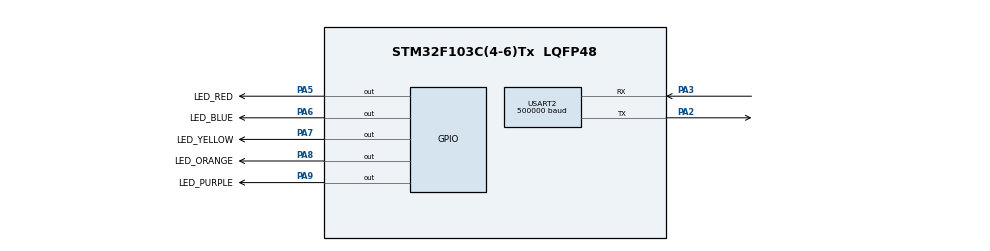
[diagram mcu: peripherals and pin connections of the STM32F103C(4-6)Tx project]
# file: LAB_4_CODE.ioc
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Mcu.Family=STM32F1
Mcu.Name=STM32F103C(4-6)Tx
Mcu.Package=LQFP48
NVIC.PriorityGroup=NVIC_PRIORITYGROUP_4
NVIC.TIM2_IRQn=true\:0\:0\:false\:false\:true\:true\:true\:true
PA2.Mode=Asynchronous
PA2.Signal=USART2_TX
PA3.Mode=Asynchronous
PA3.Signal=USART2_RX
PA5.GPIO_Label=LED_RED
PA5.GPIO_Speed=GPIO_SPEED_FREQ_HIGH
PA5.PinState=GPIO_PIN_SET
PA5.Signal=GPIO_Output
PA6.GPIO_Label=LED_BLUE
PA6.GPIO_Speed=GPIO_SPEED_FREQ_HIGH
PA6.PinState=GPIO_PIN_SET
PA6.Signal=GPIO_Output
PA7.GPIO_Label=LED_YELLOW
PA7.GPIO_Speed=GPIO_SPEED_FREQ_HIGH
PA7.PinState=GPIO_PIN_SET
PA7.Signal=GPIO_Output
PA8.GPIO_Label=LED_ORANGE
PA8.GPIO_Speed=GPIO_SPEED_FREQ_HIGH
PA8.PinState=GPIO_PIN_SET
PA8.Signal=GPIO_Output
PA9.GPIO_Label=LED_PURPLE
PA9.GPIO_Speed=GPIO_SPEED_FREQ_HIGH
PA9.PinState=GPIO_PIN_SET
PA9.Signal=GPIO_Output
ProjectManager.HeapSize=0x200
ProjectManager.StackSize=0x400
ProjectManager.TargetToolchain=CMake
RCC.APB1Freq_Value=8000000
RCC.APB2Freq_Value=8000000
TIM2.Period=100-1
TIM2.Prescaler=800-1
USART2.BaudRate=500000
USART2.VirtualMode=VM_ASYNC
VP_SYS_VS_ND.Mode=No_Debug
VP_TIM2_VS_ClockSourceINT.Mode=Internal
board=custom

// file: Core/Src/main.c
/* USER CODE BEGIN Header */
/**
 ******************************************************************************
 * @file           : main.c
 * @brief          : Main program body
 ******************************************************************************
 * @attention
 *
 * Copyright (c) 2026 STMicroelectronics.
 * All rights reserved.
 *
 * This software is licensed under terms that can be found in the LICENSE file
 * in the root directory of this software component.
 * If no LICENSE file comes with this software, it is provided AS-IS.
 *
 ******************************************************************************
 */
/* USER CODE END Header */
#include "main.h"
#include "tim.h"
#include "usart.h"
#include "gpio.h"

/* USER CODE BEGIN Includes */
#include "scheduler.h"
#include "stdio.h"
/* USER CODE END Includes */

void SystemClock_Config(void);

/* USER CODE BEGIN 0 */
void HAL_TIM_PeriodElapsedCallback(TIM_HandleTypeDef *htim)
{
  if (htim->Instance == TIM2)
  {
    SCH_Update();
  }
}

int _write(int file, char *ptr, int len)
{
  HAL_UART_Transmit(&huart2, (uint8_t *)ptr, len, HAL_MAX_DELAY);
  return len;
}

void task_LED_1(void)
{
  printf("[Time: %lu ms] Toggle LED_RED\r\n", get_time());
  HAL_GPIO_TogglePin(LED_RED_GPIO_Port, LED_RED_Pin);
}
void task_LED_2(void)
{
  printf("[Time: %lu ms] Toggle LED_BLUE\r\n", get_time());
  HAL_GPIO_TogglePin(LED_BLUE_GPIO_Port, LED_BLUE_Pin);
}
void task_LED_3(void)
{
  printf("[Time: %lu ms] Toggle LED_YELLOW\r\n", get_time());
  HAL_GPIO_TogglePin(LED_YELLOW_GPIO_Port, LED_YELLOW_Pin);
}
void task_LED_4(void)
{
  printf("[Time: %lu ms] Toggle LED_ORANGE\r\n", get_time());
  HAL_GPIO_TogglePin(LED_ORANGE_GPIO_Port, LED_ORANGE_Pin);
}
void task_LED_5(void)
{
  printf("[Time: %lu ms] Toggle LED_PURPLE\r\n", get_time());
  HAL_GPIO_TogglePin(LED_PURPLE_GPIO_Port, LED_PURPLE_Pin);
}

void task_light_all(void)
{
  printf("[Time: %lu ms] Toggle ALL\r\n", get_time());
  HAL_GPIO_TogglePin(LED_RED_GPIO_Port, LED_RED_Pin);
  HAL_GPIO_TogglePin(LED_BLUE_GPIO_Port, LED_BLUE_Pin);
  HAL_GPIO_TogglePin(LED_YELLOW_GPIO_Port, LED_YELLOW_Pin);
  HAL_GPIO_TogglePin(LED_ORANGE_GPIO_Port, LED_ORANGE_Pin);
  HAL_GPIO_TogglePin(LED_PURPLE_GPIO_Port, LED_PURPLE_Pin);
}
/* USER CODE END 0 */

int main(void)
{

  /* MCU Configuration--------------------------------------------------------*/

  /* Reset of all peripherals, Initializes the Flash interface and the Systick. */
  HAL_Init();

  /* Configure the system clock */
  SystemClock_Config();

  /* Initialize all configured peripherals */
  MX_GPIO_Init();
  MX_TIM2_Init();
  MX_USART2_UART_Init();
  /* USER CODE BEGIN 2 */
  SCH_Init();

  SCH_Add_Task(task_light_all, 7500, 0); // oneshot task
  SCH_Add_Task(task_LED_1, 500, 500);
  SCH_Add_Task(task_LED_2, 1000, 1000);
  SCH_Add_Task(task_LED_3, 1500, 1500);
  SCH_Add_Task(task_LED_4, 2000, 2000);
  SCH_Add_Task(task_LED_5, 2500, 2500);
  /* USER CODE END 2 */

  /* Infinite loop */
  /* USER CODE BEGIN WHILE */
  HAL_TIM_Base_Start_IT(&htim2);
  while (1)
  {
    SCH_Dispatch_Tasks();
    __WFI(); // Sleep until the next 10 ms tick!
    /* USER CODE END WHILE */

  }
}

void SystemClock_Config(void)
{
  RCC_OscInitTypeDef RCC_OscInitStruct = {0};
  RCC_ClkInitTypeDef RCC_ClkInitStruct = {0};

  /** Initializes the RCC Oscillators according to the specified parameters
  * in the RCC_OscInitTypeDef structure.
  */
  RCC_OscInitStruct.OscillatorType = RCC_OSCILLATORTYPE_HSI;
  RCC_OscInitStruct.HSIState = RCC_HSI_ON;
  RCC_OscInitStruct.HSICalibrationValue = RCC_HSICALIBRATION_DEFAULT;
  RCC_OscInitStruct.PLL.PLLState = RCC_PLL_NONE;
  if (HAL_RCC_OscConfig(&RCC_OscInitStruct) != HAL_OK)
  {
    Error_Handler();
  }

  /** Initializes the CPU, AHB and APB buses clocks
  */
  RCC_ClkInitStruct.ClockType = RCC_CLOCKTYPE_HCLK|RCC_CLOCKTYPE_SYSCLK
                              |RCC_CLOCKTYPE_PCLK1|RCC_CLOCKTYPE_PCLK2;
  RCC_ClkInitStruct.SYSCLKSource = RCC_SYSCLKSOURCE_HSI;
  RCC_ClkInitStruct.AHBCLKDivider = RCC_SYSCLK_DIV1;
  RCC_ClkInitStruct.APB1CLKDivider = RCC_HCLK_DIV1;
  RCC_ClkInitStruct.APB2CLKDivider = RCC_HCLK_DIV1;

  if (HAL_RCC_ClockConfig(&RCC_ClkInitStruct, FLASH_LATENCY_0) != HAL_OK)
  {
    Error_Handler();
  }
}

void Error_Handler(void)
{
  __disable_irq();
  while (1)
  {
  }
}
